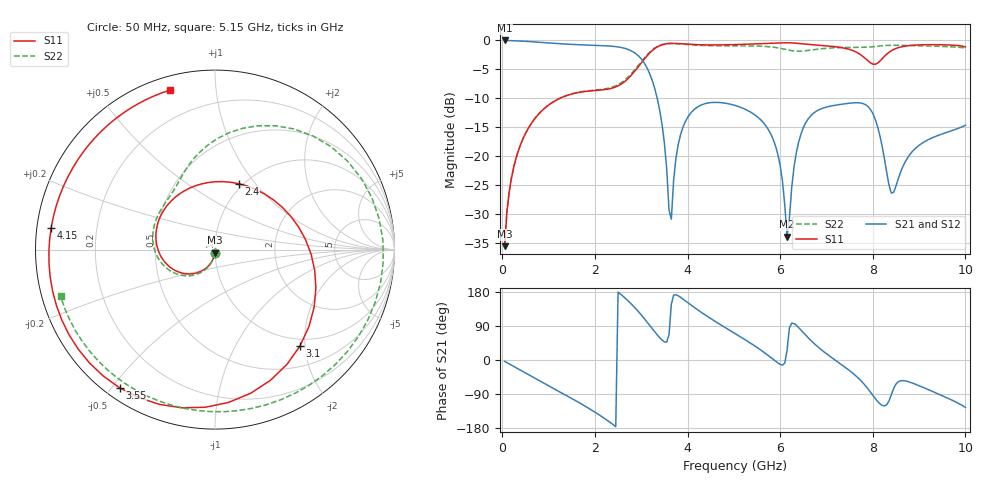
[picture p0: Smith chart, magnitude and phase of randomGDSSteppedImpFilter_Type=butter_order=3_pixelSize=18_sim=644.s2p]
! freq	dB(S11)	phase(S11)	dB(S12)	phase(S12)
!  dB(S21)	phase(S21)	dB(S22)	phase(S22)
!S-par simulation data
#  GHz  S  DB  R 50
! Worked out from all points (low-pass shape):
!   200 points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, 50 MHz to 10 GHz, reference 50 ohm
!   highest |S21| = -0.01 dB at 50 MHz (marker M1); lowest = -33.9 dB at 6.15 GHz (marker M2)
!   |S21| within 3 dB of the highest: start of sweep to 2.98 GHz
!   lowest |S11| = -35.5 dB at 50 MHz (marker M3), VSWR 1.03, Z = 49.9 - j1.67 ohm
!   |S11| at or under -10 dB: start of sweep to 1.243 GHz
!   |S22| runs from -35.5 to -0.5 dB; largest |S21 - S12| = 0
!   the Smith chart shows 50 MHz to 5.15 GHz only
!   S11 on the Smith chart (normalised r, x): 50 MHz: 1.00, -0.03; 2.4 GHz: 0.96, +0.83; 3.1 GHz: 0.86, -1.90; 3.55 GHz: 0.04, -0.52; 4.15 GHz: 0.04, +0.07; 5.15 GHz: 0.06, +0.76
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0.05  -35.53 -93.3  -0.01 -3.5  -0.01 -3.5  -35.53 -93.0
0.5  -16.09 -126.0  -0.16 -34.2  -0.16 -34.2  -16.08 -123.2
1.75  -8.85 140.8  -0.77 -119.0  -0.77 -119.0  -8.81 160.2
2.4  -8.17 70.1  -1.03 -171.2  -1.03 -171.2  -7.99 126.2
3.1  -2.90 -48.6  -4.37 104.2  -4.37 104.2  -2.73 70.9
3.4  -0.91 -101.8  -12.13 58.7  -12.13 58.7  -0.85 26.0
3.55  -0.58 -124.6  -22.15 47.4  -22.15 47.4  -0.57 3.1
3.65  -0.52 -137.9  -30.87 147.1  -30.87 147.1  -0.53 -11.3
3.8  -0.54 -155.4  -17.93 169.4  -17.93 169.4  -0.59 -31.3
4.15  -0.72 172.4  -11.88 138.4  -11.88 138.4  -0.81 -71.5
5.05  -0.72 111.6  -11.29 68.0  -11.29 68.0  -0.92 -154.1
5.15  -0.69 105.6  -11.57 60.6  -11.57 60.6  -0.92 -163.1
5.7  -0.52 73.0  -14.84 15.9  -14.84 15.9  -1.05 136.9
6.15  -0.41 45.6  -33.89 26.6  -33.89 26.6  -1.62 49.0
6.4  -0.52 29.8  -17.53 85.5  -17.53 85.5  -1.87 -21.0
6.7  -0.75 11.3  -12.71 47.2  -12.71 47.2  -1.62 -91.3
7.15  -1.05 -19.7  -11.25 3.1  -11.25 3.1  -1.28 -152.4
7.7  -2.27 -84.7  -10.77 -49.2  -10.77 -49.2  -1.20 163.5
8  -4.09 -175.2  -12.61 -92.9  -12.61 -92.9  -1.10 144.9
8.35  -2.05 60.3  -24.98 -108.3  -24.98 -108.3  -0.85 122.8
8.85  -0.85 -6.3  -19.22 -60.5  -19.22 -60.5  -0.89 91.6
10  -1.12 -69.0  -14.66 -125.1  -14.66 -125.1  -1.30 15.9
